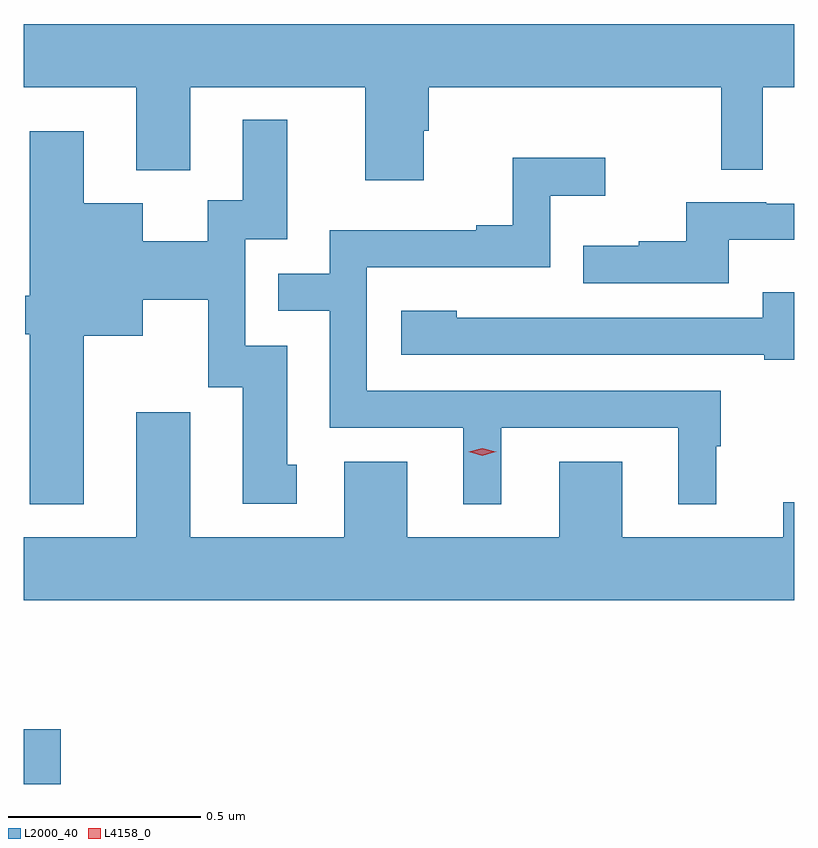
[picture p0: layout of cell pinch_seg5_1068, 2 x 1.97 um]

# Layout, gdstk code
import gdstk
lib = gdstk.Library(unit=1e-6, precision=1e-09)
def R(c, l, rs):  # rectangles x0, y0, x1, y1
    for r in rs: c.add(gdstk.rectangle(r[:2], r[2:], *l))
def P(c, l, *ps):  # polygons
    for p in ps: c.add(gdstk.Polygon(p, *l))
L2000_40 = (2000, 40)
L4158_0 = (4158, 0)

pinch_seg5_1068 = lib.new_cell('pinch_seg5_1068')
R(pinch_seg5_1068, L2000_40, [(648.487,846.959,648.583,847.101)])
P(pinch_seg5_1068, L2000_40, [(648.487,848.768),(648.779,848.768),(648.779,848.552),(648.919,848.552),(648.919,848.768),(649.373,848.768),(649.373,848.526),(649.525,848.526),(649.525,848.655),(649.538,848.655),(649.538,848.768),(650.298,848.768),(650.298,848.554),(650.406,848.554),(650.406,848.768),(650.487,848.768),(650.487,848.932),(648.487,848.932)],
  [(648.643,848.123),(648.796,848.123),(648.796,848.216),(648.966,848.216),(648.966,847.989),(649.055,847.989),(649.055,847.686),(649.195,847.686),(649.195,847.788),(649.171,847.788),(649.171,848.097),(649.062,848.097),(649.062,848.373),(649.171,848.373),(649.171,848.683),(649.055,848.683),(649.055,848.474),(648.965,848.474),(648.965,848.368),(648.796,848.368),(648.796,848.467),(648.643,848.467),(648.643,848.653),(648.503,848.653),(648.503,848.227),(648.491,848.227),(648.491,848.127),(648.503,848.127),(648.503,847.685),(648.643,847.685)],
  [(649.726,847.884),(650.186,847.884),(650.186,847.685),(650.284,847.685),(650.284,847.836),(650.296,847.836),(650.296,847.98),(649.377,847.98),(649.377,848.301),(649.854,848.301),(649.854,848.486),(649.996,848.486),(649.996,848.585),(649.756,848.585),(649.756,848.41),(649.661,848.41),(649.661,848.397),(649.281,848.397),(649.281,848.283),(649.147,848.283),(649.147,848.187),(649.281,848.187),(649.281,847.884),(649.628,847.884),(649.628,847.685),(649.726,847.685)],
  [(650.317,848.372),(650.487,848.372),(650.487,848.466),(650.414,848.466),(650.414,848.469),(650.207,848.469),(650.207,848.368),(650.083,848.368),(650.083,848.356),(649.939,848.356),(649.939,848.259),(650.317,848.259)],
  [(650.487,848.236),(650.405,848.236),(650.405,848.169),(649.847,848.169),(649.847,848.17),(649.611,848.17),(649.611,848.188),(649.467,848.188),(649.467,848.073),(650.409,848.073),(650.409,848.061),(650.487,848.061)],
  [(650.487,847.691),(650.459,847.691),(650.459,847.6),(650.041,847.6),(650.041,847.795),(649.877,847.795),(649.877,847.6),(649.483,847.6),(649.483,847.795),(649.319,847.795),(649.319,847.6),(648.919,847.6),(648.919,847.924),(648.779,847.924),(648.779,847.6),(648.487,847.6),(648.487,847.436),(650.487,847.436)])
P(pinch_seg5_1068, L4158_0, [(649.677,847.811),(649.642,847.821),(649.641,847.821),(649.642,847.821),(649.677,847.831),(649.712,847.821),(649.713,847.821),(649.712,847.821)])

lib.write_gds('pinch_seg5_1068.gds')
